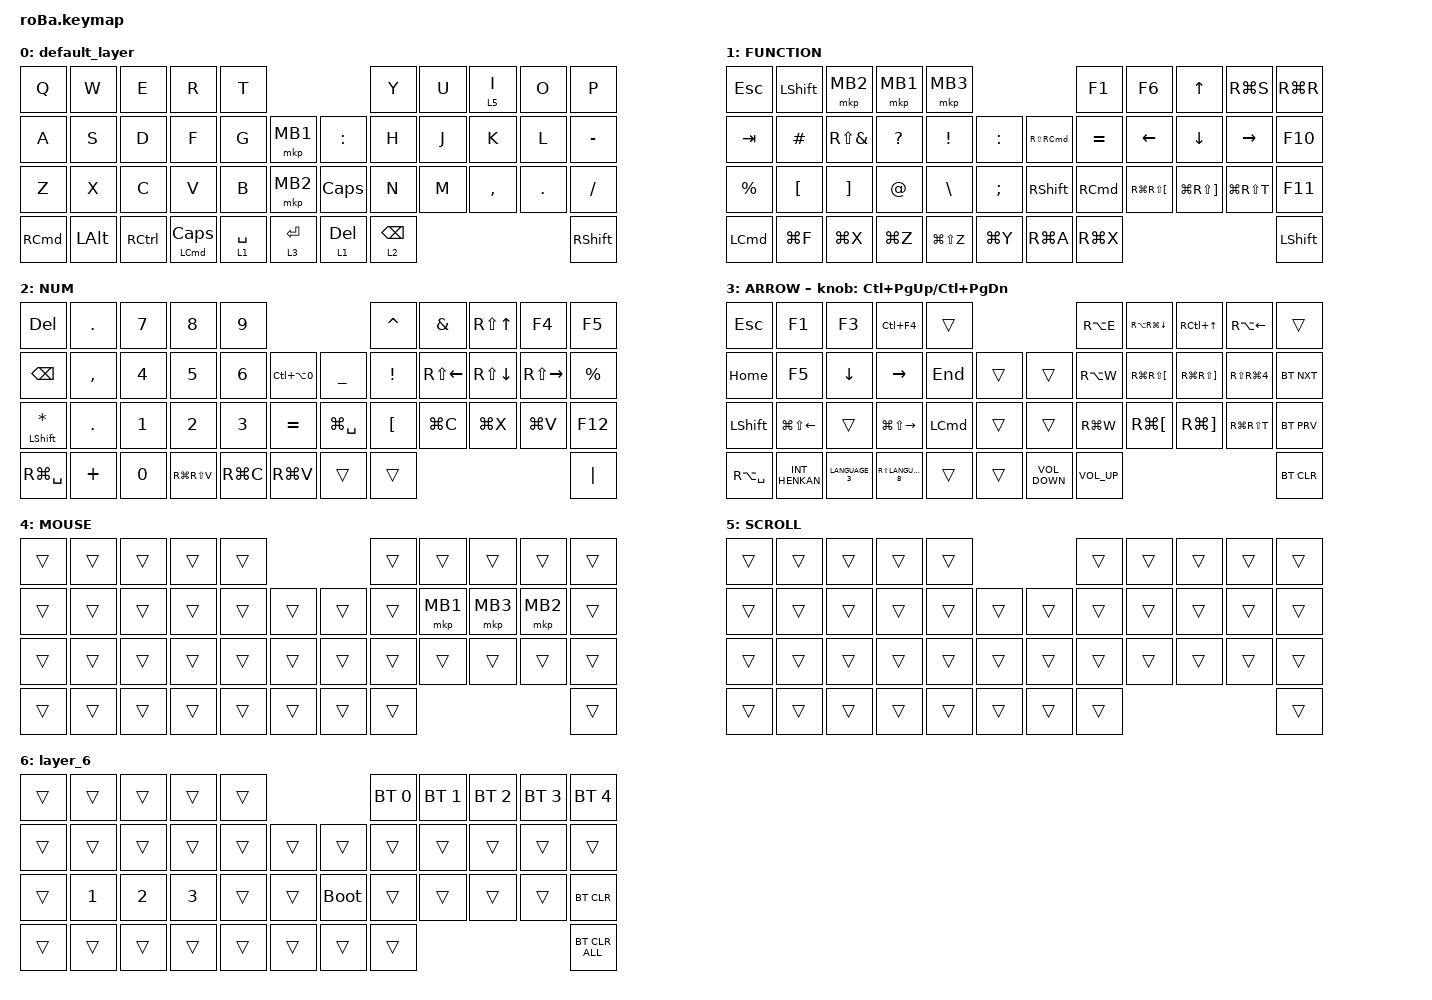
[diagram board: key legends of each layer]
#include <behaviors.dtsi>
#include <dt-bindings/zmk/bt.h>
#include <dt-bindings/zmk/keys.h>
#include <dt-bindings/zmk/pointing.h>

#define MOUSE 4
#define SCROLL 5
#define NUM 6

&mt {
    flavor = "balanced";
    quick-tap-ms = <0>;
};

/ {
    combos {
        compatible = "zmk,combos";

        tab {
            bindings = <&kp TAB>;
            key-positions = <11 12>;
        };

        shift_tab {
            bindings = <&kp LS(TAB)>;
            key-positions = <12 13>;
        };

        muhennkann {
            bindings = <&to_layer_0 INT_MUHENKAN>;
            key-positions = <11 10>;
        };

        double_quotation {
            bindings = <&kp DOUBLE_QUOTES>;
            key-positions = <20 21>;
        };

        eq {
            bindings = <&kp EQUAL>;
            key-positions = <24 25>;
        };
    };

    macros {
        to_layer_0: to_layer_0 {
            compatible = "zmk,behavior-macro-one-param";
            #binding-cells = <1>;
            bindings = <&to 0 &macro_param_1to1 &kp MACRO_PLACEHOLDER>;
            label = "TO_LAYER_0";
        };
    };

    behaviors {
        lt_to_layer_0: lt_to_layer_0 {
            compatible = "zmk,behavior-hold-tap";
            label = "LAYER_TAP_TO_0";
            bindings = <&mo>, <&to_layer_0>;

            #binding-cells = <2>;
            tapping-term-ms = <200>;
        };
    };

    keymap {
        compatible = "zmk,keymap";

        default_layer {
            bindings = <
&kp Q     &kp W         &kp E              &kp R                  &kp T                                    &kp Y            &kp U  &lt 5 I    &kp O    &kp P
&kp A     &kp S         &kp D              &kp F                  &kp G        &mkp MB1         &kp COLON  &kp H            &kp J  &kp K      &kp L    &kp MINUS
&kp Z     &kp X         &kp C              &kp V                  &kp B        &mkp MB2         &kp CAPS   &kp N            &kp M  &kp COMMA  &kp DOT  &kp SLASH
&kp RCMD  &kp LEFT_ALT  &kp RIGHT_CONTROL  &mt LEFT_COMMAND CAPS  &lt 1 SPACE  &lt 3 ENTER      &lt 1 DEL  &lt 2 BACKSPACE                             &kp RIGHT_SHIFT
            >;
        };

        FUNCTION {
            bindings = <
&kp ESCAPE        &kp LEFT_SHIFT    &mkp MB2           &mkp MB1      &mkp MB3                                         &kp F1     &kp F6                    &kp UP_ARROW               &kp RG(S)        &kp RG(R)
&kp TAB           &kp HASH          &kp RS(AMPERSAND)  &kp QUESTION  &kp EXCLAMATION  &kp COLON      &kp RS(RCMD)     &kp EQUAL  &kp LEFT_ARROW            &kp DOWN_ARROW             &kp RIGHT_ARROW  &kp F10
&kp PERCENT       &kp LEFT_BRACKET  &kp RIGHT_BRACKET  &kp AT        &kp BACKSLASH    &kp SEMI       &kp RIGHT_SHIFT  &kp RCMD   &kp RG(RS(LEFT_BRACKET))  &kp LG(RS(RIGHT_BRACKET))  &kp LG(RS(T))    &kp F11
&kp LEFT_COMMAND  &kp LG(F)         &kp LG(X)          &kp LG(Z)     &kp LG(LS(Z))    &kp LG(Y)      &kp RG(A)        &kp RG(X)                                                                        &kp LEFT_SHIFT
            >;
        };

        NUM {
            bindings = <
&kp DEL               &kp PERIOD  &kp NUMBER_7  &kp NUMBER_8   &kp NUMBER_9                                            &kp CARET         &kp AMPERSAND       &kp RS(UP_ARROW)    &kp F4               &kp F5
&kp BACKSPACE         &kp COMMA   &kp NUMBER_4  &kp NUMBER_5   &kp NUMBER_6  &kp LC(LA(NUMBER_0))      &kp UNDERSCORE  &kp EXCLAMATION   &kp RS(LEFT_ARROW)  &kp RS(DOWN_ARROW)  &kp RS(RIGHT_ARROW)  &kp PERCENT
&mt LEFT_SHIFT ASTRK  &kp PERIOD  &kp NUMBER_1  &kp NUMBER_2   &kp NUMBER_3  &kp EQUAL                 &kp LG(SPACE)   &kp LEFT_BRACKET  &kp LG(C)           &kp LG(X)           &kp LG(V)            &kp F12
&kp RG(SPACE)         &kp PLUS    &kp NUMBER_0  &kp RG(RS(V))  &kp RG(C)     &kp RG(V)                 &trans          &trans                                                                         &kp PIPE
            >;
        };

        ARROW {
            bindings = <
&kp ESCAPE      &kp F1                  &kp F3          &kp LC(F4)               &trans                                           &kp RA(E)        &kp RA(RG(DOWN_ARROW))    &kp RC(UP_ARROW)           &kp RA(LEFT_ARROW)    &trans
&kp HOME        &kp F5                  &kp DOWN_ARROW  &kp RIGHT_ARROW          &kp END           &trans      &trans             &kp RA(W)        &kp RG(RS(LEFT_BRACKET))  &kp RG(RS(RIGHT_BRACKET))  &kp RS(RG(NUMBER_4))  &bt BT_NXT
&kp LEFT_SHIFT  &kp LG(LS(LEFT_ARROW))  &trans          &kp LG(LS(RIGHT_ARROW))  &kp LEFT_COMMAND  &trans      &trans             &kp RG(W)        &kp RG(LEFT_BRACKET)      &kp RG(RIGHT_BRACKET)      &kp RG(RS(T))         &bt BT_PRV
&kp RA(SPACE)   &kp INT_HENKAN          &kp LANGUAGE_3  &kp RS(LANGUAGE_8)       &trans            &trans      &kp C_VOLUME_DOWN  &kp C_VOLUME_UP                                                                             &bt BT_CLR
            >;

            sensor-bindings = <&inc_dec_kp LC(PAGE_UP) LC(PAGE_DOWN)>;
        };

        MOUSE {
            bindings = <
&trans  &trans  &trans  &trans  &trans                      &trans  &trans    &trans    &trans    &trans
&trans  &trans  &trans  &trans  &trans  &trans      &trans  &trans  &mkp MB1  &mkp MB3  &mkp MB2  &trans
&trans  &trans  &trans  &trans  &trans  &trans      &trans  &trans  &trans    &trans    &trans    &trans
&trans  &trans  &trans  &trans  &trans  &trans      &trans  &trans                                &trans
            >;
        };

        SCROLL {
            bindings = <
&trans  &trans  &trans  &trans  &trans                      &trans  &trans  &trans  &trans  &trans
&trans  &trans  &trans  &trans  &trans  &trans      &trans  &trans  &trans  &trans  &trans  &trans
&trans  &trans  &trans  &trans  &trans  &trans      &trans  &trans  &trans  &trans  &trans  &trans
&trans  &trans  &trans  &trans  &trans  &trans      &trans  &trans                          &trans
            >;
        };

        layer_6 {
            bindings = <
&trans  &trans        &trans        &trans        &trans                           &bt BT_SEL 0  &bt BT_SEL 1  &bt BT_SEL 2  &bt BT_SEL 3  &bt BT_SEL 4
&trans  &trans        &trans        &trans        &trans  &trans      &trans       &trans        &trans        &trans        &trans        &trans
&trans  &kp NUMBER_1  &kp NUMBER_2  &kp NUMBER_3  &trans  &trans      &bootloader  &trans        &trans        &trans        &trans        &bt BT_CLR
&trans  &trans        &trans        &trans        &trans  &trans      &trans       &trans                                                  &bt BT_CLR_ALL
            >;
        };
    };
};
